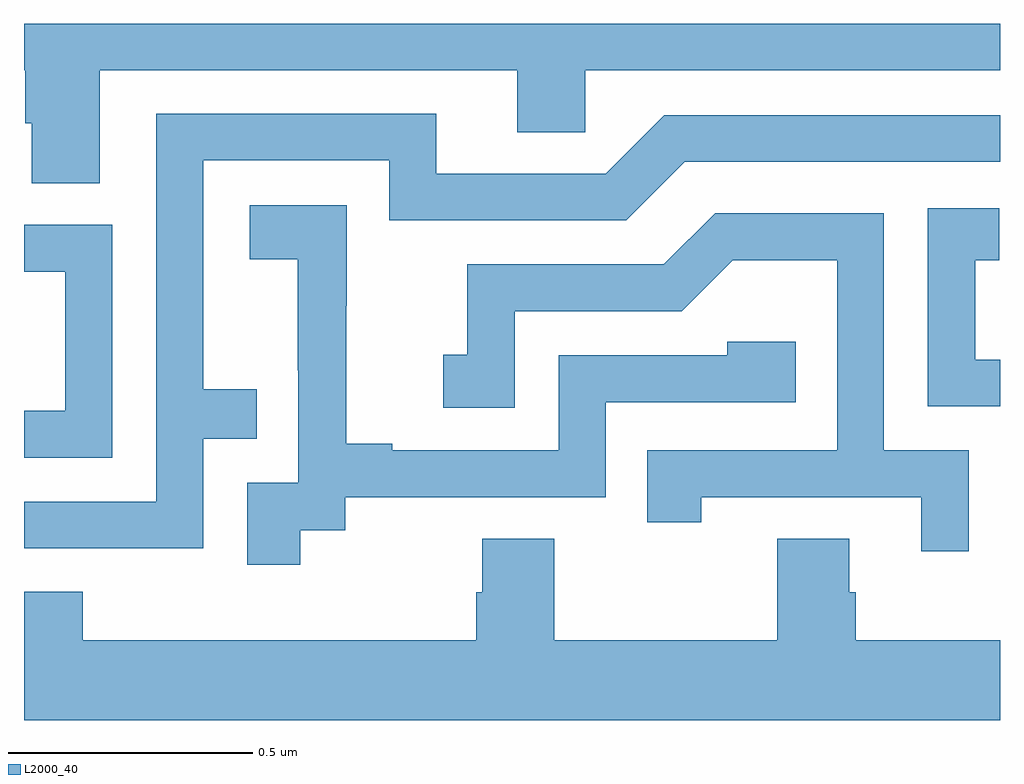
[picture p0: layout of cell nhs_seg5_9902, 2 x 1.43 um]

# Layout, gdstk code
import gdstk
lib = gdstk.Library(unit=1e-6, precision=1e-09)
def P(c, l, *ps):  # polygons
    for p in ps: c.add(gdstk.Polygon(p, *l))
L2000_40 = (2000, 40)

nhs_seg5_9902 = lib.new_cell('nhs_seg5_9902')
P(nhs_seg5_9902, L2000_40, [(239.155,912.704),(240.011,912.704),(240.011,912.577),(240.15,912.577),(240.15,912.704),(241,912.704),(241,912.799),(239,912.799),(239,912.704),(239.003,912.704),(239.003,912.595),(239.016,912.595),(239.016,912.472),(239.155,912.472)],
  [(239.367,911.949),(239.477,911.949),(239.477,912.05),(239.367,912.05),(239.367,912.519),(239.748,912.519),(239.748,912.396),(240.234,912.396),(240.354,912.516),(241,912.516),(241,912.612),(240.312,912.612),(240.192,912.492),(239.845,912.492),(239.845,912.615),(239.271,912.615),(239.271,911.82),(239,911.82),(239,911.724),(239.367,911.724)],
  [(239.566,911.761),(239.658,911.761),(239.658,911.829),(240.192,911.829),(240.192,912.024),(240.581,912.024),(240.581,912.147),(240.441,912.147),(240.441,912.12),(240.096,912.12),(240.096,911.925),(239.755,911.925),(239.755,911.938),(239.66,911.938),(239.66,912.221),(239.661,912.221),(239.661,912.427),(239.463,912.427),(239.463,912.317),(239.561,912.317),(239.561,912.089),(239.562,912.089),(239.562,911.859),(239.457,911.859),(239.457,911.691),(239.566,911.691)],
  [(241,912.111),(240.949,912.111),(240.949,912.315),(240.998,912.315),(240.998,912.421),(240.852,912.421),(240.852,912.015),(241,912.015)],
  [(240.936,911.925),(240.762,911.925),(240.762,912.411),(240.416,912.411),(240.311,912.306),(239.908,912.306),(239.908,912.121),(239.859,912.121),(239.859,912.012),(240.006,912.012),(240.006,912.21),(240.348,912.21),(240.452,912.314),(240.666,912.314),(240.666,911.925),(240.277,911.925),(240.277,911.778),(240.388,911.778),(240.388,911.829),(240.839,911.829),(240.839,911.718),(240.936,911.718)],
  [(239.181,912.387),(239,912.387),(239,912.291),(239.085,912.291),(239.085,912.006),(239,912.006),(239,911.91),(239.181,911.91)],
  [(241,911.536),(240.704,911.536),(240.704,911.634),(240.691,911.634),(240.691,911.744),(240.544,911.744),(240.544,911.536),(240.087,911.536),(240.087,911.744),(239.939,911.744),(239.939,911.634),(239.927,911.634),(239.927,911.536),(239.12,911.536),(239.12,911.635),(239,911.635),(239,911.372),(241,911.372)])

lib.write_gds('nhs_seg5_9902.gds')
